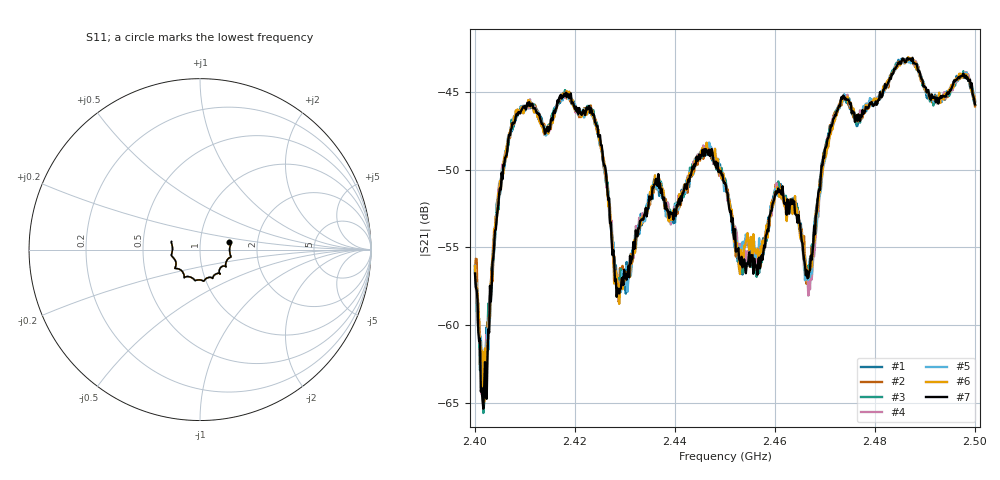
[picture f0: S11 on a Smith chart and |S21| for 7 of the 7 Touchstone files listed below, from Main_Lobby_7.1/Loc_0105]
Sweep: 2.4 GHz to 2.5 GHz
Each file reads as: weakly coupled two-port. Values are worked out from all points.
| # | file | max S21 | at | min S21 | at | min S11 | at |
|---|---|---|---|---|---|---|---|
| 1 | Lab_139_3Ch1.s2p | -42.90 dB | 2.4863 GHz | -63.4 dB | 2.402 GHz | -16.0 dB | 2.486 GHz |
| 2 | Lab_139_5Ch1.s2p | -42.88 dB | 2.4868 GHz | -64.4 dB | 2.4018 GHz | -16.0 dB | 2.4862 GHz |
| 3 | Lab_139_6Ch1.s2p | -42.89 dB | 2.486 GHz | -65.6 dB | 2.4017 GHz | -16.0 dB | 2.4862 GHz |
| 4 | Lab_139_7Ch1.s2p | -42.90 dB | 2.4863 GHz | -64.8 dB | 2.4017 GHz | -16.0 dB | 2.4862 GHz |
| 5 | Lab_139_8Ch1.s2p | -42.89 dB | 2.4853 GHz | -63.6 dB | 2.4022 GHz | -16.0 dB | 2.4862 GHz |
| 6 | Lab_139_9Ch1.s2p | -42.78 dB | 2.4867 GHz | -64.9 dB | 2.4018 GHz | -16.0 dB | 2.4862 GHz |
| 7 | Lab_139_10Ch1.s2p | -42.82 dB | 2.4875 GHz | -65.3 dB | 2.4017 GHz | -16.0 dB | 2.4862 GHz |
